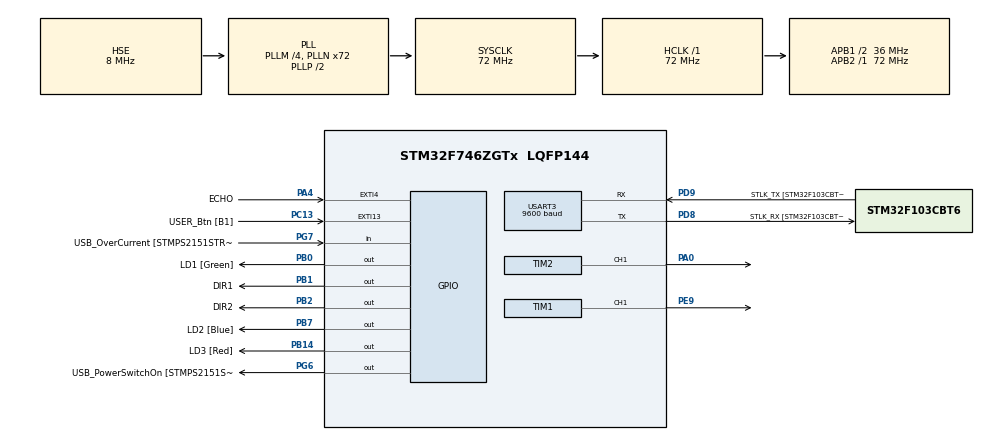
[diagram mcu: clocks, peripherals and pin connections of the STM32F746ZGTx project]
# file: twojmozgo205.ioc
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Mcu.Family=STM32F7
Mcu.Name=STM32F746ZGTx
Mcu.Package=LQFP144
NVIC.EXTI15_10_IRQn=true\:0\:0\:false\:false\:true\:true\:true\:true
NVIC.EXTI4_IRQn=true\:0\:0\:false\:false\:true\:true\:true\:true
NVIC.PriorityGroup=NVIC_PRIORITYGROUP_4
NVIC.USART3_IRQn=true\:0\:0\:false\:false\:true\:true\:true\:true
PA0/WKUP.Signal=S_TIM2_CH1_ETR
PA1.GPIO_Label=RMII_REF_CLK [LAN8742A-CZ-TR_REFCLK0]
PA1.Signal=ETH_REF_CLK
PA10.GPIO_Label=USB_ID
PA10.Signal=USB_OTG_FS_ID
PA11.GPIO_Label=USB_DM
PA11.Signal=USB_OTG_FS_DM
PA12.GPIO_Label=USB_DP
PA12.Signal=USB_OTG_FS_DP
PA13.GPIO_Label=TMS
PA13.Mode=Serial_Wire
PA13.Signal=SYS_JTMS-SWDIO
PA14.GPIO_Label=TCK
PA14.Mode=Serial_Wire
PA14.Signal=SYS_JTCK-SWCLK
PA2.GPIO_Label=RMII_MDIO [LAN8742A-CZ-TR_MDIO]
PA2.Signal=ETH_MDIO
PA4.GPIO_Label=ECHO
PA4.GPIO_ModeDefaultEXTI=GPIO_MODE_IT_RISING_FALLING
PA4.Signal=GPXTI4
PA7.GPIO_Label=RMII_CRS_DV [LAN8742A-CZ-TR_CRS_DV]
PA7.Signal=ETH_CRS_DV
PA8.GPIO_Label=USB_SOF [TP1]
PA8.Signal=USB_OTG_FS_SOF
PA9.GPIO_Label=USB_VBUS
PA9.Signal=USB_OTG_FS_VBUS
PB0.GPIO_Label=LD1 [Green]
PB0.Signal=GPIO_Output
PB1.GPIO_Label=DIR1
PB1.Signal=GPIO_Output
PB13.GPIO_Label=RMII_TXD1 [LAN8742A-CZ-TR_TXD1]
PB13.Signal=ETH_TXD1
PB14.GPIO_Label=LD3 [Red]
PB14.Signal=GPIO_Output
PB2.GPIO_Label=DIR2
PB2.Signal=GPIO_Output
PB3.GPIO_Label=SW0
PB3.Signal=SYS_JTDO-SWO
PB7.GPIO_Label=LD2 [Blue]
PB7.Signal=GPIO_Output
PC1.GPIO_Label=RMII_MDC [LAN8742A-CZ-TR_MDC]
PC1.Signal=ETH_MDC
PC13.GPIO_Label=USER_Btn [B1]
PC13.Signal=GPXTI13
PC14/OSC32_IN.Mode=LSE-External-Oscillator
PC14/OSC32_IN.Signal=RCC_OSC32_IN
PC15/OSC32_OUT.Mode=LSE-External-Oscillator
PC15/OSC32_OUT.Signal=RCC_OSC32_OUT
PC4.GPIO_Label=RMII_RXD0 [LAN8742A-CZ-TR_RXD0]
PC4.Signal=ETH_RXD0
PC5.GPIO_Label=RMII_RXD1 [LAN8742A-CZ-TR_RXD1]
PC5.Signal=ETH_RXD1
PD8.GPIO_Label=STLK_RX [STM32F103CBT6_PA3]
PD8.Mode=Asynchronous
PD8.Signal=USART3_TX
PD9.GPIO_Label=STLK_TX [STM32F103CBT6_PA2]
PD9.Mode=Asynchronous
PD9.Signal=USART3_RX
PE9.Signal=S_TIM1_CH1
PG11.GPIO_Label=RMII_TX_EN [LAN8742A-CZ-TR_TXEN]
PG11.Signal=ETH_TX_EN
PG13.GPIO_Label=RMII_TXD0 [LAN8742A-CZ-TR_TXD0]
PG13.Signal=ETH_TXD0
PG6.GPIO_Label=USB_PowerSwitchOn [STMPS2151STR_EN]
PG6.Signal=GPIO_Output
PG7.GPIO_Label=USB_OverCurrent [STMPS2151STR_FAULT]
PG7.Signal=GPIO_Input
PH0/OSC_IN.GPIO_Label=MCO [STM32F103CBT6_PA8]
PH0/OSC_IN.Mode=HSE-External-Clock-Source
PH0/OSC_IN.Signal=RCC_OSC_IN
PH1/OSC_OUT.Mode=HSE-External-Clock-Source
PH1/OSC_OUT.Signal=RCC_OSC_OUT
ProjectManager.HeapSize=0x200
ProjectManager.StackSize=0x400
ProjectManager.TargetToolchain=STM32CubeIDE
RCC.48MHZClocksFreq_Value=24000000
RCC.AHBFreq_Value=72000000
RCC.APB1CLKDivider=RCC_HCLK_DIV2
RCC.APB1Freq_Value=36000000
RCC.APB1TimFreq_Value=72000000
RCC.APB2Freq_Value=72000000
RCC.APB2TimFreq_Value=72000000
RCC.CortexFreq_Value=72000000
RCC.HCLKFreq_Value=72000000
RCC.HSE_VALUE=8000000
RCC.HSI_VALUE=16000000
RCC.PLLM=4
RCC.PLLMUL=RCC_PLL_MUL9
RCC.PLLN=72
RCC.PLLQ=3
RCC.PLLSourceVirtual=RCC_PLLSOURCE_HSE
RCC.PRESCALERUSB=RCC_USBCLKSOURCE_PLL_DIV1_5
RCC.SYSCLKFreq_VALUE=72000000
RCC.SYSCLKSource=RCC_SYSCLKSOURCE_PLLCLK
RCC.SYSCLKSourceVirtual=RCC_SYSCLKSOURCE_PLLCLK
RCC.USBFreq_Value=48000000
RCC.VCOOutputFreq_Value=144000000
SH.S_TIM1_CH1.0=TIM1_CH1,PWM Generation1 CH1
SH.S_TIM2_CH1_ETR.0=TIM2_CH1,PWM Generation1 CH1
TIM1.Channel-PWM\ Generation1\ CH1=TIM_CHANNEL_1
TIM1.Period=99
TIM1.Prescaler=71
TIM1.Pulse-PWM\ Generation1\ CH1=100
TIM2.Channel-PWM\ Generation1\ CH1=TIM_CHANNEL_1
TIM2.Period=49999
TIM2.Prescaler=71
TIM2.Pulse-PWM\ Generation1\ CH1=20
TIM5.Prescaler=71
USART3.BaudRate=9600
USART3.VirtualMode-Asynchronous=VM_ASYNC
VP_TIM1_VS_ClockSourceINT.Mode=Internal
VP_TIM2_VS_ClockSourceINT.Mode=Internal
VP_TIM5_VS_ClockSourceINT.Mode=Internal
board=NUCLEO-F746ZG

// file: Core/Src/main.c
/* USER CODE BEGIN Header */
/**
  ******************************************************************************
  * @file           : main.c
  * @brief          : Main program body
  ******************************************************************************
  * @attention
  *
  * Copyright (c) 2023 STMicroelectronics.
  * All rights reserved.
  *
  * This software is licensed under terms that can be found in the LICENSE file
  * in the root directory of this software component.
  * If no LICENSE file comes with this software, it is provided AS-IS.
  *
  ******************************************************************************
  */
/* USER CODE END Header */
#include "main.h"
#include "tim.h"
#include "usart.h"
#include "gpio.h"

/* USER CODE BEGIN Includes */
#include "string.h"
#include "stdlib.h"
#include "stdio.h"

#include "control.h"
#include "DC_Motor.h"

/* USER CODE END Includes */

/* USER CODE BEGIN PV */
int ticks = 0;
float value;
float y_ref;
float duty;
uint32_t x;
uint8_t rx_buffer[32];
struct Motor motor;
struct Controller controller;

/* USER CODE END PV */

void SystemClock_Config(void);

/* USER CODE BEGIN 0 */
void HAL_GPIO_EXTI_Callback(uint16_t GPIO_Pin)
{

	if(GPIO_Pin == ECHO_Pin){
		_Bool state = HAL_GPIO_ReadPin(ECHO_GPIO_Port, ECHO_Pin);
		if(state == 1){
			__HAL_TIM_SET_COUNTER(&htim5, 0);
			HAL_TIM_Base_Start(&htim5);

		}
		else{
			HAL_TIM_Base_Stop(&htim5);
			x = __HAL_TIM_GET_COUNTER(&htim5);
			if(x/58.0f < 1000){
				value = x/58.0f;
				if(ticks>=50){
					uint8_t tx_buffer[32];

					int resp_len = sprintf((char*)tx_buffer, "Distance: %.2f ", value);
					HAL_UART_Transmit(&huart3, tx_buffer, resp_len,10);

					resp_len = sprintf((char*)tx_buffer, "Reference: %.2f ", y_ref);
					HAL_UART_Transmit(&huart3, tx_buffer, resp_len,10);

					resp_len = sprintf((char*)tx_buffer, "Duty: %.2f\r", duty);
					HAL_UART_Transmit(&huart3, tx_buffer, resp_len,10);
					ticks=0;
				}
				ticks++;

			}

		}
	}
}

void HAL_UART_RxCpltCallback(UART_HandleTypeDef *huart){
	if(huart == &huart3){
		if(rx_buffer[0] == 'R'){
			sscanf((char*)&rx_buffer[1], "%f", &y_ref);
		}
	}
	HAL_UART_Receive_IT(&huart3, rx_buffer, 6);
}
/* USER CODE END 0 */

int main(void)
{

  /* MCU Configuration--------------------------------------------------------*/

  /* Reset of all peripherals, Initializes the Flash interface and the Systick. */
  HAL_Init();

  /* Configure the system clock */
  SystemClock_Config();

  /* Initialize all configured peripherals */
  MX_GPIO_Init();
  MX_USART3_UART_Init();
  MX_TIM2_Init();
  MX_TIM5_Init();
  MX_TIM1_Init();
  /* USER CODE BEGIN 2 */
  HAL_UART_Receive_IT(&huart3, rx_buffer, 6);
  HAL_TIM_PWM_Start(&htim2, TIM_CHANNEL_1);
  HAL_TIM_PWM_Start(&htim1, TIM_CHANNEL_1);

  Motor_INIT(&motor, &htim1, TIM_CHANNEL_1, DIR1_GPIO_Port, DIR2_GPIO_Port, DIR1_Pin, DIR2_Pin);
  control_INIT(&controller, 100.0f, 60.0f, 5.0f, 1.0f);
  /* USER CODE END 2 */

  /* Infinite loop */
  while (1)
  {
	  duty = control_GET_SIGNAL(&controller, value, y_ref);
	  Motor_MOVE(&motor, duty);
	  HAL_Delay(50);
  }
}

void SystemClock_Config(void)
{
  RCC_OscInitTypeDef RCC_OscInitStruct = {0};
  RCC_ClkInitTypeDef RCC_ClkInitStruct = {0};

  /** Configure LSE Drive Capability
  */
  HAL_PWR_EnableBkUpAccess();

  /** Configure the main internal regulator output voltage
  */
  __HAL_RCC_PWR_CLK_ENABLE();
  __HAL_PWR_VOLTAGESCALING_CONFIG(PWR_REGULATOR_VOLTAGE_SCALE3);

  /** Initializes the RCC Oscillators according to the specified parameters
  * in the RCC_OscInitTypeDef structure.
  */
  RCC_OscInitStruct.OscillatorType = RCC_OSCILLATORTYPE_HSE;
  RCC_OscInitStruct.HSEState = RCC_HSE_BYPASS;
  RCC_OscInitStruct.PLL.PLLState = RCC_PLL_ON;
  RCC_OscInitStruct.PLL.PLLSource = RCC_PLLSOURCE_HSE;
  RCC_OscInitStruct.PLL.PLLM = 4;
  RCC_OscInitStruct.PLL.PLLN = 72;
  RCC_OscInitStruct.PLL.PLLP = RCC_PLLP_DIV2;
  RCC_OscInitStruct.PLL.PLLQ = 3;
  if (HAL_RCC_OscConfig(&RCC_OscInitStruct) != HAL_OK)
  {
    Error_Handler();
  }

  /** Initializes the CPU, AHB and APB buses clocks
  */
  RCC_ClkInitStruct.ClockType = RCC_CLOCKTYPE_HCLK|RCC_CLOCKTYPE_SYSCLK
                              |RCC_CLOCKTYPE_PCLK1|RCC_CLOCKTYPE_PCLK2;
  RCC_ClkInitStruct.SYSCLKSource = RCC_SYSCLKSOURCE_PLLCLK;
  RCC_ClkInitStruct.AHBCLKDivider = RCC_SYSCLK_DIV1;
  RCC_ClkInitStruct.APB1CLKDivider = RCC_HCLK_DIV2;
  RCC_ClkInitStruct.APB2CLKDivider = RCC_HCLK_DIV1;

  if (HAL_RCC_ClockConfig(&RCC_ClkInitStruct, FLASH_LATENCY_2) != HAL_OK)
  {
    Error_Handler();
  }
}

void Error_Handler(void)
{
  __disable_irq();
  while (1)
  {
  }
}
